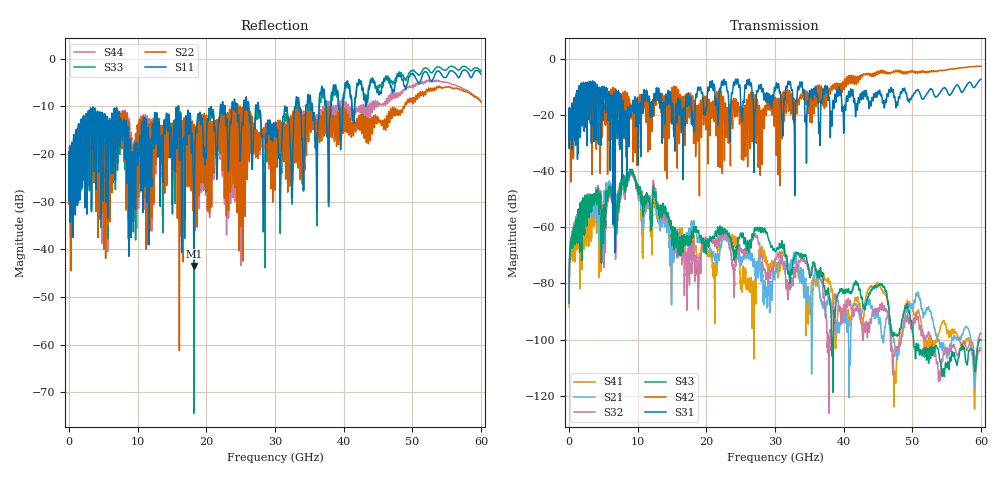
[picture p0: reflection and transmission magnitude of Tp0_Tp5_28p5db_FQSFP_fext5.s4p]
!4 port subset of full cascaded channels using these ports:11 37 12 38
# Hz S RI R 50
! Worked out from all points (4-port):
!   6000 points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, 10 MHz to 60 GHz, reference 50 ohm
!   strongest paths, dB at 10 MHz, 15.01 GHz, 30.01 GHz, 45.01 GHz, 60 GHz:
!     S31: -20.1, -20.3, -11.1, -11.9, -7.3
!     S42: -20.0, -10.7, -13.8, -5.2, -2.7
!     S43: -87.1, -65.2, -68.3, -80.8, -100.1
!     S32: -86.2, -65.3, -71.6, -88.7, -98.0
!     S21: -86.2, -65.6, -76.8, -89.9, -103.1
!     S41: -88.4, -65.6, -72.8, -79.9, -104.0
!   lowest |S11| = -43.5 dB at 18.23 GHz (marker M1), VSWR 1.01, Z = 49.5 + j0.441 ohm
!   |S11| at or under -10 dB: start of sweep to 15.92 GHz; 15.94 GHz to 22.04 GHz (6.101 GHz wide, 32.1 % of centre); 27.6 GHz to 31.43 GHz (3.827 GHz wide, 13 % of centre)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
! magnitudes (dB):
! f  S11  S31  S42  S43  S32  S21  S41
! 10 MHz  -22.0  -20.1  -20.0  -87.1  -86.2  -86.2  -88.4
! 9.08 GHz  -23.7  -16.8  -20.4  -40.0  -40.9  -40.6  -40.2
! 14.95 GHz  -17.2  -21.0  -11.6  -65.6  -61.6  -73.1  -74.8
! 18.23 GHz  -43.5  -24.6  -17.0  -60.9  -69.0  -58.8  -65.7
! 28.55 GHz  -22.7  -12.6  -16.7  -61.2  -75.3  -80.0  -71.7
! 32.12 GHz  -14.9  -8.8  -11.5  -79.4  -81.2  -76.2  -73.9
! 60 GHz  -3.2  -7.3  -2.7  -100.1  -98.0  -103.1  -104.0
